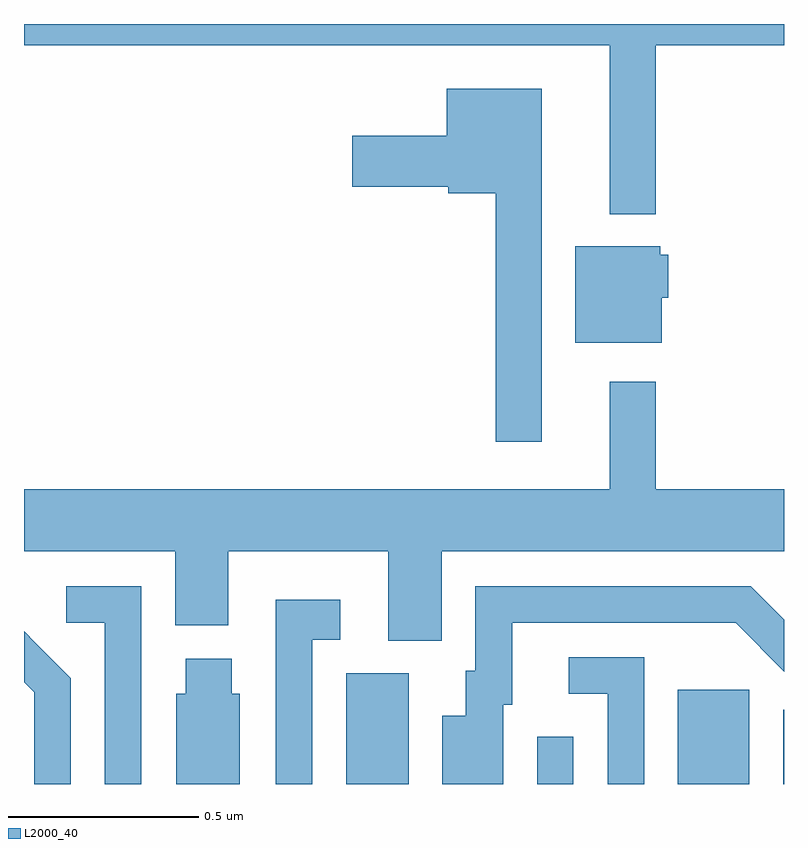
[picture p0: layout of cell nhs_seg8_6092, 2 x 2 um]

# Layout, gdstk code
import gdstk
lib = gdstk.Library(unit=1e-6, precision=1e-09)
def R(c, l, rs):  # rectangles x0, y0, x1, y1
    for r in rs: c.add(gdstk.rectangle(r[:2], r[2:], *l))
def P(c, l, *ps):  # polygons
    for p in ps: c.add(gdstk.Polygon(p, *l))
L2000_40 = (2000, 40)

nhs_seg8_6092 = lib.new_cell('nhs_seg8_6092')
R(nhs_seg8_6092, L2000_40, [(192.848,1103.9,193.012,1104.192), (193.35,1103.9,193.446,1104.025), (193.721,1103.9,193.909,1104.148), (193.998,1103.9,194,1104.095)])
P(nhs_seg8_6092, L2000_40, [(193.663,1105.844),(194,1105.844),(194,1105.9),(192,1105.9),(192,1105.844),(193.541,1105.844),(193.541,1105.4),(193.663,1105.4)],
  [(193.363,1105.729),(193.112,1105.729),(193.112,1105.606),(192.864,1105.606),(192.864,1105.472),(193.116,1105.472),(193.116,1105.454),(193.242,1105.454),(193.242,1104.801),(193.363,1104.801)],
  [(193.678,1105.179),(193.696,1105.179),(193.696,1105.293),(193.674,1105.293),(193.674,1105.315),(193.451,1105.315),(193.451,1105.061),(193.678,1105.061)],
  [(193.099,1104.512),(194,1104.512),(194,1104.676),(193.663,1104.676),(193.663,1104.958),(193.541,1104.958),(193.541,1104.676),(192,1104.676),(192,1104.512),(192.398,1104.512),(192.398,1104.318),(192.538,1104.318),(192.538,1104.512),(192.959,1104.512),(192.959,1104.277),(193.099,1104.277)],
  [(192.309,1104.42),(192.111,1104.42),(192.111,1104.324),(192.213,1104.324),(192.213,1103.9),(192.309,1103.9)],
  [(193.261,1104.108),(193.285,1104.108),(193.285,1104.324),(193.873,1104.324),(194,1104.196),(194,1104.332),(193.912,1104.42),(193.188,1104.42),(193.188,1104.198),(193.163,1104.198),(193.163,1104.079),(193.1,1104.079),(193.1,1103.9),(193.261,1103.9)],
  [(192.759,1104.279),(192.832,1104.279),(192.832,1104.385),(192.663,1104.385),(192.663,1103.9),(192.759,1103.9)],
  [(192.123,1104.178),(192.031,1104.271),(192,1104.302),(192,1104.168),(192.027,1104.141),(192.027,1103.9),(192.123,1103.9)],
  [(193.632,1104.234),(193.434,1104.234),(193.434,1104.138),(193.536,1104.138),(193.536,1103.9),(193.632,1103.9)],
  [(192.568,1104.138),(192.547,1104.138),(192.547,1104.229),(192.425,1104.229),(192.425,1104.138),(192.401,1104.138),(192.401,1103.9),(192.568,1103.9)])

lib.write_gds('nhs_seg8_6092.gds')
